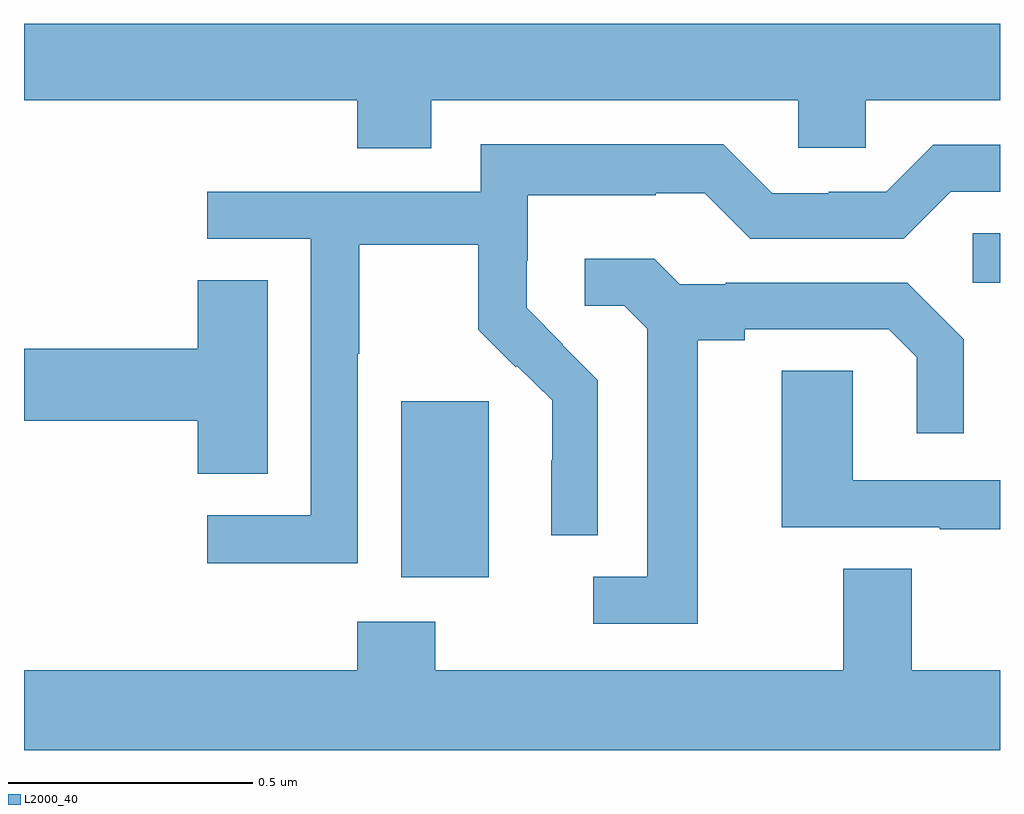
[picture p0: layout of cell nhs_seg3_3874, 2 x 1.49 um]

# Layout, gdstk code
import gdstk
lib = gdstk.Library(unit=1e-6, precision=1e-09)
def R(c, l, rs):  # rectangles x0, y0, x1, y1
    for r in rs: c.add(gdstk.rectangle(r[:2], r[2:], *l))
def P(c, l, *ps):  # polygons
    for p in ps: c.add(gdstk.Polygon(p, *l))
L2000_40 = (2000, 40)

nhs_seg3_3874 = lib.new_cell('nhs_seg3_3874')
R(nhs_seg3_3874, L2000_40, [(159.773,705.266,159.952,705.627), (160.944,705.87,161,705.971)])
P(nhs_seg3_3874, L2000_40, [(159.835,706.244),(160.587,706.244),(160.587,706.146),(160.725,706.146),(160.725,706.244),(161,706.244),(161,706.4),(159,706.4),(159,706.244),(159.683,706.244),(159.683,706.145),(159.835,706.145)],
  [(159.684,705.724),(159.687,705.724),(159.687,705.948),(159.931,705.948),(159.931,705.773),(160.008,705.696),(160.011,705.699),(160.082,705.629),(160.082,705.506),(160.08,705.506),(160.08,705.352),(160.176,705.352),(160.176,705.67),(160.103,705.743),(160.104,705.744),(160.03,705.818),(160.03,705.915),(160.032,705.915),(160.032,706.049),(160.295,706.049),(160.295,706.053),(160.395,706.053),(160.488,705.96),(160.803,705.96),(160.899,706.056),(161,706.056),(161,706.152),(160.863,706.152),(160.767,706.056),(160.649,706.056),(160.649,706.053),(160.533,706.053),(160.433,706.153),(159.936,706.153),(159.936,706.056),(159.375,706.056),(159.375,705.96),(159.588,705.96),(159.588,705.393),(159.375,705.393),(159.375,705.295),(159.684,705.295)],
  [(160.381,705.752),(160.477,705.752),(160.477,705.774),(160.772,705.774),(160.829,705.717),(160.829,705.561),(160.926,705.561),(160.926,705.754),(160.81,705.87),(160.438,705.87),(160.438,705.867),(160.344,705.867),(160.292,705.919),(160.149,705.919),(160.149,705.822),(160.23,705.822),(160.277,705.775),(160.277,705.267),(160.167,705.267),(160.167,705.171),(160.381,705.171)],
  [(159.499,705.875),(159.356,705.875),(159.356,705.734),(159,705.734),(159,705.587),(159.356,705.587),(159.356,705.478),(159.499,705.478)],
  [(161,705.465),(160.698,705.465),(160.698,705.689),(160.553,705.689),(160.553,705.369),(160.877,705.369),(160.877,705.365),(161,705.365)],
  [(161,705.076),(160.819,705.076),(160.819,705.284),(160.679,705.284),(160.679,705.076),(159.843,705.076),(159.843,705.175),(159.683,705.175),(159.683,705.076),(159,705.076),(159,704.912),(161,704.912)])

lib.write_gds('nhs_seg3_3874.gds')
